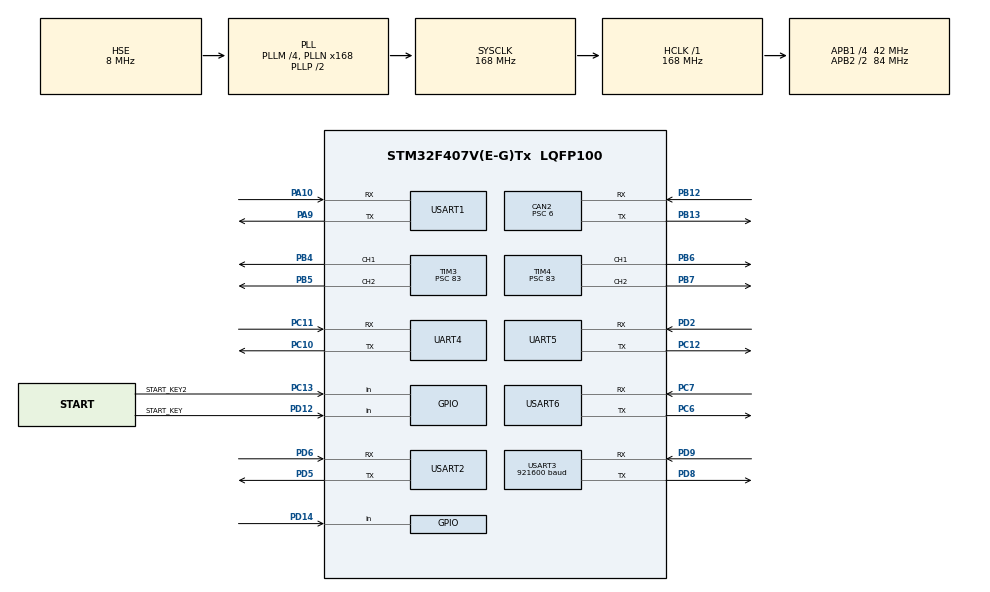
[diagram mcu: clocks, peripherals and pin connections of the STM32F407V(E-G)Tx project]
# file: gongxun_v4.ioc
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CAN2.BS1=CAN_BS1_3TQ
CAN2.BS2=CAN_BS2_3TQ
CAN2.CalculateBaudRate=1000000
CAN2.CalculateTimeBit=1000
CAN2.CalculateTimeQuantum=142.85714285714286
CAN2.Prescaler=6
Dma.Request0=UART5_RX
Dma.Request1=UART5_TX
Dma.Request2=USART3_RX
Dma.Request3=USART6_RX
Dma.UART5_RX.0.Direction=DMA_PERIPH_TO_MEMORY
Dma.UART5_RX.0.FIFOMode=DMA_FIFOMODE_DISABLE
Dma.UART5_RX.0.Instance=DMA1_Stream0
Dma.UART5_RX.0.MemDataAlignment=DMA_MDATAALIGN_BYTE
Dma.UART5_RX.0.MemInc=DMA_MINC_ENABLE
Dma.UART5_RX.0.Mode=DMA_CIRCULAR
Dma.UART5_RX.0.PeriphDataAlignment=DMA_PDATAALIGN_BYTE
Dma.UART5_RX.0.PeriphInc=DMA_PINC_DISABLE
Dma.UART5_RX.0.Priority=DMA_PRIORITY_LOW
Dma.UART5_TX.1.Direction=DMA_MEMORY_TO_PERIPH
Dma.UART5_TX.1.FIFOMode=DMA_FIFOMODE_DISABLE
Dma.UART5_TX.1.Instance=DMA1_Stream7
Dma.UART5_TX.1.MemDataAlignment=DMA_MDATAALIGN_BYTE
Dma.UART5_TX.1.MemInc=DMA_MINC_ENABLE
Dma.UART5_TX.1.Mode=DMA_NORMAL
Dma.UART5_TX.1.PeriphDataAlignment=DMA_PDATAALIGN_BYTE
Dma.UART5_TX.1.PeriphInc=DMA_PINC_DISABLE
Dma.UART5_TX.1.Priority=DMA_PRIORITY_LOW
Dma.USART3_RX.2.Direction=DMA_PERIPH_TO_MEMORY
Dma.USART3_RX.2.FIFOMode=DMA_FIFOMODE_DISABLE
Dma.USART3_RX.2.Instance=DMA1_Stream1
Dma.USART3_RX.2.MemDataAlignment=DMA_MDATAALIGN_BYTE
Dma.USART3_RX.2.MemInc=DMA_MINC_ENABLE
Dma.USART3_RX.2.Mode=DMA_NORMAL
Dma.USART3_RX.2.PeriphDataAlignment=DMA_PDATAALIGN_BYTE
Dma.USART3_RX.2.PeriphInc=DMA_PINC_DISABLE
Dma.USART3_RX.2.Priority=DMA_PRIORITY_LOW
Dma.USART6_RX.3.Direction=DMA_PERIPH_TO_MEMORY
Dma.USART6_RX.3.FIFOMode=DMA_FIFOMODE_DISABLE
Dma.USART6_RX.3.Instance=DMA2_Stream1
Dma.USART6_RX.3.MemDataAlignment=DMA_MDATAALIGN_BYTE
Dma.USART6_RX.3.MemInc=DMA_MINC_ENABLE
Dma.USART6_RX.3.Mode=DMA_NORMAL
Dma.USART6_RX.3.PeriphDataAlignment=DMA_PDATAALIGN_BYTE
Dma.USART6_RX.3.PeriphInc=DMA_PINC_DISABLE
Dma.USART6_RX.3.Priority=DMA_PRIORITY_LOW
FREERTOS.INCLUDE_vTaskDelayUntil=1
FREERTOS.Tasks01=defaultTask,0,1024,StartDefaultTask,As weak,NULL,Dynamic,NULL,NULL;myTask02,2,512,StartTask02,As weak,NULL,Dynamic,NULL,NULL
FREERTOS.configTOTAL_HEAP_SIZE=24576
Mcu.Family=STM32F4
Mcu.Name=STM32F407V(E-G)Tx
Mcu.Package=LQFP100
NVIC.CAN2_RX0_IRQn=true\:5\:0\:false\:false\:true\:true\:true\:true\:true
NVIC.DMA1_Stream0_IRQn=true\:5\:0\:false\:false\:true\:true\:false\:true\:true
NVIC.DMA1_Stream1_IRQn=true\:5\:0\:false\:false\:true\:true\:false\:true\:true
NVIC.DMA1_Stream7_IRQn=true\:5\:0\:false\:false\:true\:true\:false\:true\:true
NVIC.DMA2_Stream1_IRQn=true\:6\:0\:true\:false\:true\:true\:false\:true\:true
NVIC.PriorityGroup=NVIC_PRIORITYGROUP_4
NVIC.TIM6_DAC_IRQn=true\:15\:0\:false\:false\:true\:false\:false\:true\:true
NVIC.TimeBase=TIM6_DAC_IRQn
NVIC.TimeBaseIP=TIM6
NVIC.UART4_IRQn=true\:7\:0\:true\:false\:true\:true\:true\:true\:true
NVIC.UART5_IRQn=true\:7\:0\:true\:false\:true\:true\:true\:true\:true
NVIC.USART1_IRQn=true\:7\:0\:true\:false\:true\:true\:true\:true\:true
NVIC.USART2_IRQn=true\:7\:0\:true\:false\:true\:true\:true\:true\:true
NVIC.USART3_IRQn=true\:5\:0\:true\:false\:true\:true\:true\:true\:true
NVIC.USART6_IRQn=true\:6\:0\:true\:false\:true\:true\:true\:true\:true
PA10.Mode=Asynchronous
PA10.Signal=USART1_RX
PA13.Mode=Serial_Wire
PA13.Signal=SYS_JTMS-SWDIO
PA14.Mode=Serial_Wire
PA14.Signal=SYS_JTCK-SWCLK
PA9.Mode=Asynchronous
PA9.Signal=USART1_TX
PB12.Mode=CAN_Activate
PB12.Signal=CAN2_RX
PB13.Mode=CAN_Activate
PB13.Signal=CAN2_TX
PB4.GPIO_Speed=GPIO_SPEED_FREQ_VERY_HIGH
PB4.Signal=S_TIM3_CH1
PB5.GPIO_Speed=GPIO_SPEED_FREQ_VERY_HIGH
PB5.Signal=S_TIM3_CH2
PB6.Signal=S_TIM4_CH1
PB7.Signal=S_TIM4_CH2
PC10.Mode=Asynchronous
PC10.Signal=UART4_TX
PC11.Mode=Asynchronous
PC11.Signal=UART4_RX
PC12.Mode=Asynchronous
PC12.Signal=UART5_TX
PC13-ANTI_TAMP.GPIO_Label=START_KEY2
PC13-ANTI_TAMP.GPIO_PuPd=GPIO_PULLUP
PC13-ANTI_TAMP.Signal=GPIO_Input
PC6.Mode=Asynchronous
PC6.Signal=USART6_TX
PC7.Mode=Asynchronous
PC7.Signal=USART6_RX
PD12.GPIO_Label=START_KEY
PD12.GPIO_PuPd=GPIO_PULLUP
PD12.Signal=GPIO_Input
PD14.GPIO_PuPd=GPIO_PULLUP
PD14.Signal=GPIO_Input
PD2.Mode=Asynchronous
PD2.Signal=UART5_RX
PD5.Mode=Asynchronous
PD5.Signal=USART2_TX
PD6.Mode=Asynchronous
PD6.Signal=USART2_RX
PD8.Mode=Asynchronous
PD8.Signal=USART3_TX
PD9.Mode=Asynchronous
PD9.Signal=USART3_RX
PH0-OSC_IN.Mode=HSE-External-Oscillator
PH0-OSC_IN.Signal=RCC_OSC_IN
PH1-OSC_OUT.Mode=HSE-External-Oscillator
PH1-OSC_OUT.Signal=RCC_OSC_OUT
ProjectManager.HeapSize=0x200
ProjectManager.StackSize=0x400
ProjectManager.TargetToolchain=MDK-ARM V5.32
RCC.48MHZClocksFreq_Value=84000000
RCC.AHBFreq_Value=168000000
RCC.APB1CLKDivider=RCC_HCLK_DIV4
RCC.APB1Freq_Value=42000000
RCC.APB1TimFreq_Value=84000000
RCC.APB2CLKDivider=RCC_HCLK_DIV2
RCC.APB2Freq_Value=84000000
RCC.APB2TimFreq_Value=168000000
RCC.CortexFreq_Value=168000000
RCC.HCLKFreq_Value=168000000
RCC.HSE_VALUE=8000000
RCC.HSI_VALUE=16000000
RCC.LSE_VALUE=32768
RCC.PLLM=4
RCC.PLLN=168
RCC.PLLSourceVirtual=RCC_PLLSOURCE_HSE
RCC.SYSCLKFreq_VALUE=168000000
RCC.SYSCLKSource=RCC_SYSCLKSOURCE_PLLCLK
RCC.VCOOutputFreq_Value=336000000
SH.S_TIM3_CH1.0=TIM3_CH1,PWM Generation1 CH1
SH.S_TIM3_CH2.0=TIM3_CH2,PWM Generation2 CH2
SH.S_TIM4_CH1.0=TIM4_CH1,PWM Generation1 CH1
SH.S_TIM4_CH2.0=TIM4_CH2,PWM Generation2 CH2
TIM3.Channel-PWM\ Generation1\ CH1=TIM_CHANNEL_1
TIM3.Channel-PWM\ Generation2\ CH2=TIM_CHANNEL_2
TIM3.Period=19999
TIM3.Prescaler=83
TIM4.Channel-PWM\ Generation1\ CH1=TIM_CHANNEL_1
TIM4.Channel-PWM\ Generation2\ CH2=TIM_CHANNEL_2
TIM4.Period=19999
TIM4.Prescaler=83
UART4.VirtualMode=Asynchronous
UART5.VirtualMode=Asynchronous
USART1.VirtualMode=VM_ASYNC
USART2.VirtualMode=VM_ASYNC
USART3.BaudRate=921600
USART3.VirtualMode=VM_ASYNC
USART6.VirtualMode=VM_ASYNC
VP_FREERTOS_VS_CMSIS_V1.Mode=CMSIS_V1
VP_SYS_VS_tim6.Mode=TIM6
board=custom

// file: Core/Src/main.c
/* USER CODE BEGIN Header */
/**
  ******************************************************************************
  * @file           : main.c
  * @brief          : Main program body
  ******************************************************************************
  * @attention
  *
  * Copyright (c) 2026 STMicroelectronics.
  * All rights reserved.
  *
  * This software is licensed under terms that can be found in the LICENSE file
  * in the root directory of this software component.
  * If no LICENSE file comes with this software, it is provided AS-IS.
  *
  ******************************************************************************
  */
/* USER CODE END Header */
#include "main.h"
#include "cmsis_os.h"
#include "can.h"
#include "dma.h"
#include "tim.h"
#include "usart.h"
#include "gpio.h"

/* USER CODE BEGIN Includes */
#include "app_config.h"
#include "bsp_usart.h"
#include "hwt101.h"
#include "Emm_V5.h"
#include "FSUS.h"
#include "bsp_can2.h"
#include "actionInit.h"
#include "maixcam.h"
#include "QR_code.h"
#include "chassic.h"
/* USER CODE END Includes */

void SystemClock_Config(void);
void MX_FREERTOS_Init(void);

int main(void)
{

  /* MCU Configuration--------------------------------------------------------*/

  /* Reset of all peripherals, Initializes the Flash interface and the Systick. */
  HAL_Init();

  /* Configure the system clock */
  SystemClock_Config();

  /* Initialize all configured peripherals */
  MX_GPIO_Init();
  MX_DMA_Init();
  MX_TIM4_Init();
  MX_TIM3_Init();
  MX_UART4_Init();
  MX_UART5_Init();
  MX_USART1_UART_Init();
  MX_USART2_UART_Init();
  MX_USART3_UART_Init();
  MX_USART6_UART_Init();
  MX_CAN2_Init();
  /* USER CODE BEGIN 2 */
  /* HWT101持续输出航向；上电时将当前物理朝向定义为世界坐标0度。 */

	//基本配置初始化
	uart_init_User();
  canfilterconfig();  /* Configure filter and start CAN2. */
  DM_Enable();        /* Enable the DM motor, matching the reference. */
	User_Uart_Init(&huart4);           //FUSH舵机
  HWT101_ResReceiveToIdle_DMA();     //IMU串口
	//基本的运动初始化
  Hwt101_Yaw_Res();
  Emm_V5_Stop_Now(0,false);
	action_Init();
    ser_set2(0,3.0f);
  /* USER CODE END 2 */

  /* Call init function for freertos objects (in cmsis_os2.c) */
  MX_FREERTOS_Init();

  /* Start scheduler */
  osKernelStart();

  /* We should never get here as control is now taken by the scheduler */

  /* Infinite loop */
  while (1)
  {

  }
}

void SystemClock_Config(void)
{
  RCC_OscInitTypeDef RCC_OscInitStruct = {0};
  RCC_ClkInitTypeDef RCC_ClkInitStruct = {0};

  /** Configure the main internal regulator output voltage
  */
  __HAL_RCC_PWR_CLK_ENABLE();
  __HAL_PWR_VOLTAGESCALING_CONFIG(PWR_REGULATOR_VOLTAGE_SCALE1);

  /** Initializes the RCC Oscillators according to the specified parameters
  * in the RCC_OscInitTypeDef structure.
  */
  RCC_OscInitStruct.OscillatorType = RCC_OSCILLATORTYPE_HSE;
  RCC_OscInitStruct.HSEState = RCC_HSE_ON;
  RCC_OscInitStruct.PLL.PLLState = RCC_PLL_ON;
  RCC_OscInitStruct.PLL.PLLSource = RCC_PLLSOURCE_HSE;
  RCC_OscInitStruct.PLL.PLLM = 4;
  RCC_OscInitStruct.PLL.PLLN = 168;
  RCC_OscInitStruct.PLL.PLLP = RCC_PLLP_DIV2;
  RCC_OscInitStruct.PLL.PLLQ = 4;
  if (HAL_RCC_OscConfig(&RCC_OscInitStruct) != HAL_OK)
  {
    Error_Handler();
  }

  /** Initializes the CPU, AHB and APB buses clocks
  */
  RCC_ClkInitStruct.ClockType = RCC_CLOCKTYPE_HCLK|RCC_CLOCKTYPE_SYSCLK
                              |RCC_CLOCKTYPE_PCLK1|RCC_CLOCKTYPE_PCLK2;
  RCC_ClkInitStruct.SYSCLKSource = RCC_SYSCLKSOURCE_PLLCLK;
  RCC_ClkInitStruct.AHBCLKDivider = RCC_SYSCLK_DIV1;
  RCC_ClkInitStruct.APB1CLKDivider = RCC_HCLK_DIV4;
  RCC_ClkInitStruct.APB2CLKDivider = RCC_HCLK_DIV2;

  if (HAL_RCC_ClockConfig(&RCC_ClkInitStruct, FLASH_LATENCY_5) != HAL_OK)
  {
    Error_Handler();
  }
}

void HAL_TIM_PeriodElapsedCallback(TIM_HandleTypeDef *htim)
{
  if (htim->Instance == TIM6)
  {
    HAL_IncTick();
  }
}

void Error_Handler(void)
{
  __disable_irq();
  while (1)
  {
  }
}

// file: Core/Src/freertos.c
/* USER CODE BEGIN Header */
/**
  ******************************************************************************
  * File Name          : freertos.c
  * Description        : Code for freertos applications
  ******************************************************************************
  * @attention
  *
  * Copyright (c) 2026 STMicroelectronics.
  * All rights reserved.
  *
  * This software is licensed under terms that can be found in the LICENSE file
  * in the root directory of this software component.
  * If no LICENSE file comes with this software, it is provided AS-IS.
  *
  ******************************************************************************
  */
/* USER CODE END Header */

#include "FreeRTOS.h"
#include "task.h"
#include "main.h"
#include "cmsis_os.h"

/* USER CODE BEGIN Includes */
#include "app_config.h"
#include "chassis_runtime.h"
#include "path_follower.h"
#include "radar_startup.h"
#include "robot_task.h"
#include "action.h"
#include "QR_code.h"
#include <math.h>
#include "tim.h"
#include "actionInit.h"
/* USER CODE END Includes */

/* USER CODE BEGIN PD */
/* 雷达只在主流程启动阶段扫描一次，区域由两个启动键同步选择。 */
#define RADAR_STARTUP_NODE_ID       1U
#define RADAR_STARTUP_TIMEOUT_MS    20000U
#define RADAR_STARTUP_POLL_MS       5U
#define START_KEY_DEBOUNCE_MS       20U
#define START_FEEDBACK_TIMEOUT_MS  5000U
#define START_POSE_TIMEOUT_MS      1000U
/* USER CODE END PD */

/* USER CODE BEGIN Variables */
AppStart_State_t g_app_start;

/* USER CODE END Variables */
osThreadId defaultTaskHandle;
osThreadId myTask02Handle;

/* USER CODE BEGIN FunctionPrototypes */
static uint8_t MainTask_RunStageAction(uint8_t completed_stage);
static uint8_t MainTask_PrepareStart(void);

/* USER CODE END FunctionPrototypes */

void StartDefaultTask(void const * argument);
void StartTask02(void const * argument);

void MX_FREERTOS_Init(void); /* (MISRA C 2004 rule 8.1) */

/* GetIdleTaskMemory prototype (linked to static allocation support) */
void vApplicationGetIdleTaskMemory( StaticTask_t **ppxIdleTaskTCBBuffer, StackType_t **ppxIdleTaskStackBuffer, uint32_t *pulIdleTaskStackSize );

/* USER CODE BEGIN GET_IDLE_TASK_MEMORY */
static StaticTask_t xIdleTaskTCBBuffer;
static StackType_t xIdleStack[configMINIMAL_STACK_SIZE];

void vApplicationGetIdleTaskMemory( StaticTask_t **ppxIdleTaskTCBBuffer, StackType_t **ppxIdleTaskStackBuffer, uint32_t *pulIdleTaskStackSize )
{
  *ppxIdleTaskTCBBuffer = &xIdleTaskTCBBuffer;
  *ppxIdleTaskStackBuffer = &xIdleStack[0];
  *pulIdleTaskStackSize = configMINIMAL_STACK_SIZE;
  /* place for user code */
}
/* USER CODE END GET_IDLE_TASK_MEMORY */

void MX_FREERTOS_Init(void) {
  /* USER CODE BEGIN Init */
  (void)ChassisRuntime_Create();
  /* USER CODE END Init */

  /* Create the thread(s) */
  /* definition and creation of defaultTask */
  osThreadDef(defaultTask, StartDefaultTask, osPriorityNormal, 0, 1024);
  defaultTaskHandle = osThreadCreate(osThread(defaultTask), NULL);

  /* definition and creation of myTask02 */
  osThreadDef(myTask02, StartTask02, osPriorityHigh, 0, 512);
  myTask02Handle = osThreadCreate(osThread(myTask02), NULL);

}

__weak void StartDefaultTask(void const * argument)
{
  /* USER CODE BEGIN StartDefaultTask */
  (void)argument;

//雷达的启动扫描和规划***********************************************************************
  /* 先选择实际放车区域并建立地图位姿，不能先用1区路线规划再选2区。 */
  if (MainTask_PrepareStart() != 0U)
  {
    g_app_start.status = APP_START_PLANNING;
  /*
   * 启动阶段只扫描一次全场障碍并完成A*规划。
   * 结果保存在g_radar_startup.path，成功后再进入正式比赛主流程。
   */
#if APP_RADAR_ENABLED
  /* 接回雷达时使用：握手、选区、扫描障碍、A*规划。 */
  (void)RadarStartup_Start(RADAR_STARTUP_NODE_ID,
                          g_app_start.selected_zone,
                          RADAR_STARTUP_TIMEOUT_MS);
  while (!RadarStartup_IsFinished())
  {
    RadarStartup_Process();
    osDelay(RADAR_STARTUP_POLL_MS);
  }
#else
  /* 当前未接雷达：直接按无新增障碍做A*，不等待20秒通信超时。
   * 不调用RadarClient_Init/Poll，不发送雷达握手或扫描指令。
   */
  (void)RadarStartup_PlanWithoutRadar();
#endif

  if (RadarStartup_IsSuccessful() && PathFollower_Start(RadarStartup_GetPath()))
  {
    /* 两种模式都使用同一个路径执行器，工位动作和离站流程不变。 */
    g_app_start.status = APP_START_RUNNING;
  }
  else
  {
    g_app_start.fault = RadarStartup_IsSuccessful() ?
                        APP_START_FAULT_FOLLOWER : APP_START_FAULT_PLAN;
    g_app_start.status = APP_START_ERROR;
    (void)ChassisRuntime_Stop();
  }
  }

//雷达的启动扫描和规划************************************************************************
//测试代码************************************************************************************

//	 QRcode_print_1();
//	/* 先启动MaixCam物料模式，并等待第一批有效坐标帧。 */
//	osDelay(100U);
//		Maixcam_setmode(5U);
//		(void)VisualPosition_Run(155U, 138, 90.0f, 1U, 8000U); //加工区，地图航向
//  	(void)VisualPosition_Run(78U, 93, 0.0f, 1U, 8000U);   //码垛
	//	(void)VisualPosition_Run(60U, 100, -90.0f, 1U, 8000U);   //原料区，地图航向
//	    ser_set(-69, 800);
//    osDelay(810U);
//	/* 视觉微调直接控制四轮，期间关闭任务2，避免USART3指令互相覆盖。 */
//	ChassisRuntime_SetEncoderQueryEnabled(false);
//	MotorSetPulse(5000, 1, 200, 200);
//	osDelay(1000);
//		put_material2(3);
//		put_material2(3);
//	put_material2(3);
////	osDelay(20U);
//	grab_material(3);
//	grab_material(2);
//	grab_material(3);
//	put_material(1);
//	put_material(2);
//	put_material(3);
//	grab_middle(1);
//	ChassisRuntime_SetEncoderQueryEnabled(true);
//VisualPosition_RunRawMaterial(RAW_GRAB_MIDDLE_X_PX, RAW_GRAB_MIDDLE_Y_PX,
//            0, RAW_GRAB_POSITION_TOLERANCE_PX,
//            RAW_GRAB_POSITION_TIMEOUT_MS);
//VisualPosition_Run(145U, 127U, 0.0f, 1U, 8000U);  //加工区定位点
//VisualPosition_Run(72U, 83U, 0.0f, 1U, 8000U);  //码垛定位点
//ChassisRuntime_SetEncoderQueryEnabled(false);
//    PutMaterial2FromSlot(1, 1U);
//    PutMaterial2FromSlot(2, 2U);
//    PutMaterial2FromSlot(3, 3U);

//    GrabMaterialToSlot(1, 1U);
//   GrabMaterialToSlot(2, 2U);
//    GrabMaterialToSlot(3, 3U);

//   RawGrab_Run(1,2,3);
//ChassisRuntime_SetEncoderQueryEnabled(true);
//  while(1)
//	{
//		osDelay(10);
//	}
//测试代码************************************************************************************
  /* Infinite loop：联合执行A*路径，电机闭环仍由高优先级任务负责。 */
  for(;;)
  {
    if (g_app_start.status == APP_START_RUNNING)
    {
      PathFollower_Process();
      /*
       * 车辆到达一个任务段终点并完全停车后，才进入对应工位处理。
       * MainTask_RunStageAction返回1表示机构已收回、共享串口动作结束。
       * 原料/加工/暂存区由PathFollower_Continue先自动全向离站，再转向下一段。
       */
      if (g_path_follower.status == PATH_FOLLOWER_WAIT_ACTION)
      {
        if (MainTask_RunStageAction(g_path_follower.completed_stage) != 0U)
        {
          (void)PathFollower_Continue();
        }
      }
      if (g_path_follower.status == PATH_FOLLOWER_FAULT)
      {
        g_app_start.fault = APP_START_FAULT_FOLLOWER;
        g_app_start.status = APP_START_ERROR;
      }
      else if (g_path_follower.status == PATH_FOLLOWER_DONE)
      {
        g_app_start.status = APP_START_DONE;
      }
    }
    else
    {
      /* 雷达或规划失败：当前保持停车，等待后续故障处理。 */
    }
    osDelay(10);
  }
  /* USER CODE END StartDefaultTask */
}

__weak void StartTask02(void const * argument)
{
  /* USER CODE BEGIN StartTask02 */
  uint32_t last_wake = osKernelSysTick();
  (void)argument;

  /* 20 ms固定周期：四轮回读 -> 里程计/IMU融合 -> 四轮速度输出。 */
  for(;;)
  {
    ChassisRuntime_TaskStep();
    osDelayUntil(&last_wake,20U);
  }
  /* USER CODE END StartTask02 */
}

/* USER CODE BEGIN Application */

/* 两键同时按下不选择，避免放在2区却误选1区；只读取一次并锁定。 */
static uint8_t MainTask_ReadStartKey(void)
{
    GPIO_PinState key1 = HAL_GPIO_ReadPin(START_KEY_GPIO_Port, START_KEY_Pin);
    GPIO_PinState key2 = HAL_GPIO_ReadPin(START_KEY2_GPIO_Port, START_KEY2_Pin);
    if (key1 == GPIO_PIN_RESET && key2 == GPIO_PIN_SET) return PP_START_ZONE_1;
    if (key2 == GPIO_PIN_RESET && key1 == GPIO_PIN_SET) return PP_START_ZONE_2;
    return 0U;
}

/* 建立选区位姿，只修正软件坐标，不发送移动目标。
 * 高优先级任务2继续运行，每次等待都osDelay让出CPU，严禁用while空转。
 * 队列接口返回成功只是入队，必须等对应序号真正完成且位姿确认才启动。
 */
static uint8_t MainTask_PrepareStart(void)
{
    const PathPlan_StartProfile_t *profile;
    ChassisRuntime_State_t chassis;
    uint32_t wait_start;
    uint8_t zone;
    float yaw_error;

    g_app_start.status = APP_START_WAIT_KEY;
    g_app_start.fault = APP_START_FAULT_NONE;
    g_app_start.selected_zone = 0U;
    g_app_start.pose_sequence = 0U;
    for (;;) {
        zone = MainTask_ReadStartKey();
        if (zone != 0U) {
            osDelay(START_KEY_DEBOUNCE_MS);
            if (MainTask_ReadStartKey() == zone) break;
        }
        osDelay(5U);
    }
    if (path_plan_select_start_zone(zone) == 0) {
        g_app_start.fault = APP_START_FAULT_BAD_ZONE;
        goto start_failed;
    }
    g_app_start.selected_zone = zone;
    profile = path_plan_get_start_profile();
    g_app_start.status = APP_START_WAIT_FEEDBACK;
    wait_start = HAL_GetTick();
    for (;;) {
        ChassisRuntime_GetState(&chassis);
        if (chassis.status == CHASSIS_RUNTIME_FAULT) {
            g_app_start.fault = APP_START_FAULT_CHASSIS;
            goto start_failed;
        }
        /* IMU有效后把当前原始读数对齐PP_START_YAW_DEG配置的地图航向。
         * 不要求IMU开机读数为0；先按配置角保持航向离站，再允许路径转向。
         */
        if (chassis.nav_initialized != 0U && chassis.encoder_query_enabled != 0U &&
            chassis.encoder_valid_mask == CHASSIS_NAV_ENCODER_ALL_VALID &&
            chassis.imu_valid != 0U && isfinite(chassis.imu_yaw_deg) &&
            (chassis.status == CHASSIS_RUNTIME_IDLE ||
             chassis.status == CHASSIS_RUNTIME_DONE)) break;
        if (HAL_GetTick() - wait_start >= START_FEEDBACK_TIMEOUT_MS) {
            g_app_start.fault = APP_START_FAULT_FEEDBACK_TIMEOUT;
            goto start_failed;
        }
        osDelay(5U);
    }
    if (!ChassisRuntime_CorrectPoseWithSequence(profile->initial_x_mm,
                                                profile->initial_y_mm,
                                                profile->initial_yaw_deg,
                                                &g_app_start.pose_sequence)) {
        g_app_start.fault = APP_START_FAULT_POSE_QUEUE;
        goto start_failed;
    }
    g_app_start.status = APP_START_WAIT_POSE;
    wait_start = HAL_GetTick();
    for (;;) {
        ChassisRuntime_GetState(&chassis);
        if (chassis.status == CHASSIS_RUNTIME_FAULT) {
            g_app_start.fault = APP_START_FAULT_CHASSIS;
            goto start_failed;
        }
        yaw_error = chassis.nav.pose.yaw_deg - profile->initial_yaw_deg;
        if (isfinite(yaw_error)) {
            while (yaw_error > 180.0f) yaw_error -= 360.0f;
            while (yaw_error < -180.0f) yaw_error += 360.0f;
        }
        if (g_app_start.pose_sequence != 0U &&
            chassis.completed_sequence == g_app_start.pose_sequence &&
            (chassis.status == CHASSIS_RUNTIME_IDLE ||
             chassis.status == CHASSIS_RUNTIME_DONE) &&
            chassis.encoder_valid_mask == CHASSIS_NAV_ENCODER_ALL_VALID &&
            isfinite(chassis.nav.pose.x_mm) && isfinite(chassis.nav.pose.y_mm) &&
            isfinite(yaw_error) && fabsf(yaw_error) <= 1.0f &&
            hypotf(chassis.nav.pose.x_mm - profile->initial_x_mm,
                   chassis.nav.pose.y_mm - profile->initial_y_mm) <= 2.0f) return 1U;
        if (HAL_GetTick() - wait_start >= START_POSE_TIMEOUT_MS) {
            g_app_start.fault = APP_START_FAULT_POSE_TIMEOUT;
            goto start_failed;
        }
        osDelay(5U);
    }

start_failed:
    g_app_start.status = APP_START_ERROR;
    (void)ChassisRuntime_Stop();
    return 0U;
}

/*
 * 工位右侧对接姿态的临时观察时间。
 * 正式运行设为0；需要观察对接方向时可临时改为1000毫秒。
 * 动作本身的完成状态决定何时继续路径。
 */
/* 正式动作已接入，取消旧的工位对接后额外1秒观察等待。 */
#define STAGE_DOCK_TEST_HOLD_MS 0U

/*
 * 六次工位动作各自的执行顺序，下标与completed_stage相同。
 * 每行依次是a、b、c；修改某行只影响那一次到站，不影响另一圈。
 * 原料行是颜色编号1~6：第一圈来自A1/B1/C1，第二圈来自A3/B3/C3。
 * 第一圈加工/暂存用A2/B2/C2；第二圈加工仍用A4/B4/C4。
 * 第二圈暂存按第1/2/3组扫码计算同色目标，不使用第4组加工顺序。
 * 原料按抓取先后存入槽1/2/3；加工、暂存参数a/b/c分别指定这三个槽
 * 应去的圆环位置。例：原料6/2/4、圆环3/1/2，则槽1颜色6放圆环3，
 * 槽2颜色2放圆环1，槽3颜色4放圆环2；加工取回时仍回到原槽。
 * 表在实际扫码或手动任务加载后生成，不再混用A1/A2/A3，也不把颜色号当槽号。
 */
static uint8_t s_stage_action_order[PP_MAX_STAGES][3] = {
    {0U, 0U, 0U}, /* 0：扫码，无机构顺序。 */
    {0U, 0U, 0U}, /* 1：第一圈原料，扫码第1组，颜色1~6。 */
    {0U, 0U, 0U}, /* 2：第一圈加工，扫码第2组，圆环1~3。 */
    {0U, 0U, 0U}, /* 3：第一圈暂存，扫码第2组，圆环1~3。 */
    {0U, 0U, 0U}, /* 4：第二圈原料，扫码第3组，颜色1~6。 */
    {0U, 0U, 0U}, /* 5：第二圈加工，扫码第4组，圆环1~3。 */
    {0U, 0U, 0U}, /* 6：第二圈暂存，同色匹配的目标圆环，第二层叠放。 */
    {0U, 0U, 0U}  /* 7：最终停车，无机构顺序。 */
};

/**
  * @brief  执行每个任务段终点对应的扫码、视觉定位和机构动作。
  * @param  completed_stage 已完成的任务段编号，范围0~7。
  * @retval 1=本阶段动作完成，可以继续；0=动作仍在进行，保持停车等待。
  * @note
  *   1. 阻塞式函数：在对应case中直接调用，函数返回后保持return 1U。
  *   2. 非阻塞式函数：每次推进一步，未完成返回0U，完成后返回1U。
  *   3. 视觉得到绝对位姿后可调用：
  *        ChassisRuntime_CorrectPose(x_mm, y_mm, yaw_deg);
  *      该接口只校正地图位姿，不清空编码器累计值。
  *   4. 不要在这里长时间关闭中断或暂停调度；ZDT_task会继续读取里程计。
  *   5. 加工/暂存区返回1U前需将机构收回；返回后路径状态机自动恢复
  *      编码器回读，保持工位航向低速回到离站安全点，再转向下一段。
  */
static uint8_t MainTask_RunStageAction(uint8_t completed_stage)
{
  uint8_t *order;
  uint8_t max_id;
  /* 只记录两次原料到站：下标0=第一圈、1=第二圈，失败不自动重抓。
   * 1=动作函数返回成功，非传感器确认抓牢；调试排障后复位重跑。
   */
  static uint8_t raw_attempted[2];
  static uint8_t raw_done[2];

  if (completed_stage >= PP_MAX_STAGES) return 0U;
  order = s_stage_action_order[completed_stage];
  max_id = (completed_stage == 1U || completed_stage == 4U) ? 6U : 3U;

  /* 避免无效编号导致原料忙等待永不退出，或抓放函数不执行却放行路径。 */
  if (completed_stage >= 1U && completed_stage <= 6U &&
      (order[0] < 1U || order[0] > max_id ||
       order[1] < 1U || order[1] > max_id ||
       order[2] < 1U || order[2] > max_id ||
       order[0] == order[1] || order[0] == order[2] || order[1] == order[2]))
  {
    return 0U; /* 顺序配置错误：保持WAIT_ACTION，不执行机构或继续路径。 */
  }

#if STAGE_DOCK_TEST_HOLD_MS > 0U
  static uint8_t hold_stage = 0xFFU;
  static uint32_t hold_start_ms = 0U;

  /* 阶段1~6都是原料/加工/暂存工位，先非阻塞保持对接姿态供观察。 */
  if (completed_stage >= 1U && completed_stage <= 6U &&
      STAGE_DOCK_TEST_HOLD_MS != 0U)
  {
    if (hold_stage != completed_stage)
    {
      hold_stage = completed_stage;
      hold_start_ms = HAL_GetTick();
      return 0U;
    }

    if ((uint32_t)(HAL_GetTick() - hold_start_ms) <
        STAGE_DOCK_TEST_HOLD_MS)
    {
      return 0U;
    }

    hold_stage = 0xFFU;
  }
#endif

  switch (completed_stage)
  {
    case 0U:
      /* 扫码区域：车身左侧朝向二维码板，底盘已经停车。 */
      if (g_storage_stack.fault != STORAGE_STACK_FAULT_NONE) return 0U;
      raw_attempted[0] = raw_attempted[1] = 0U;
      raw_done[0] = raw_done[1] = 0U;
#if APP_MANUAL_TASK_ENABLED
      /* 手动测试：不调用扫码等待；同样解码成A1~C4，复用后续流程。
       * 不改扫码接收标志E和中断接收缓冲，避免与实际接收互相覆盖。
       */
      openmv_shun_xu1 = APP_MANUAL_TASK_GROUP1;
      openmv_shun_xu2 = APP_MANUAL_TASK_GROUP2;
      openmv_shun_xu3 = APP_MANUAL_TASK_GROUP3;
      openmv_shun_xu4 = APP_MANUAL_TASK_GROUP4;
      if (!ShunXu_Decode(openmv_shun_xu1, 6U, &A1, &B1, &C1) ||
          !ShunXu_Decode(openmv_shun_xu2, 3U, &A2, &B2, &C2) ||
          !ShunXu_Decode(openmv_shun_xu3, 6U, &A3, &B3, &C3) ||
          !ShunXu_Decode(openmv_shun_xu4, 3U, &A4, &B4, &C4)) {
        g_storage_stack.fault = STORAGE_STACK_FAULT_BAD_SCAN;
        return 0U; /* 手动编号非法时保持停车，不能盲目执行机构。 */
      }
#else
      QRcode_print_1();
#endif
      /* 第一圈：第1组颜色取料，第2组圆环加工/暂存。 */
      s_stage_action_order[1][0] = A1;
      s_stage_action_order[1][1] = B1;
      s_stage_action_order[1][2] = C1;
      s_stage_action_order[2][0] = A2;
      s_stage_action_order[2][1] = B2;
      s_stage_action_order[2][2] = C2;
      s_stage_action_order[3][0] = A2;
      s_stage_action_order[3][1] = B2;
      s_stage_action_order[3][2] = C2;

      /* 第二圈：第3组颜色取料，第4组只用于加工区。 */
      s_stage_action_order[4][0] = A3;
      s_stage_action_order[4][1] = B3;
      s_stage_action_order[4][2] = C3;
      s_stage_action_order[5][0] = A4;
      s_stage_action_order[5][1] = B4;
      s_stage_action_order[5][2] = C4;
      /* 根据扫码快照保存第一层圆环颜色，并生成第二圈同色码垛目标。
       * 两圈颜色不同/编号非法时保持停车，Watch查看g_storage_stack.fault。
       */
      if (!StorageStack_Configure(s_stage_action_order[1],
                                   s_stage_action_order[3],
                                   s_stage_action_order[4])) return 0U;
      s_stage_action_order[6][0] = g_storage_stack.target_ring[0];
      s_stage_action_order[6][1] = g_storage_stack.target_ring[1];
      s_stage_action_order[6][2] = g_storage_stack.target_ring[2];
      return 1U;
    case 1U:
      /* 第一圈原料：第1组颜色，action.c完成排列识别、定位、左中右抓取、
       * 查询开关恢复和收臂。返回0保持WAIT_ACTION，不放行路径或重复抓取。
       */
      if (raw_attempted[0] != 0U) return raw_done[0];
      raw_attempted[0] = 1U;
      raw_done[0] = RawGrab_Run(order[0], order[1], order[2]);
      return raw_done[0];

    case 4U:
      /* 第二圈原料：第3组颜色；直接调用同一流程，完成标志仍与第一圈独立。 */
      if (raw_attempted[1] != 0U) return raw_done[1];
      raw_attempted[1] = 1U;
      raw_done[1] = RawGrab_Run(order[0], order[1], order[2]);
      return raw_done[1];

    case 2U:
      /* 第一圈加工：保持原视觉模式、定位坐标及+90度工位航向。 */
		  Maixcam_setmode(2U);
			ser_set(-70,1000);
	    osDelay(700);
		  VisualPosition_Run(145U, 127U, 90.0f, 1U, 8000U);  //加工区定位点
		ChassisRuntime_SetEncoderQueryEnabled(false);
      /* 共享串口已让出，按本阶段顺序放置并取回。 */
      Processing_First(order[0], order[1], order[2]);
		ChassisRuntime_SetEncoderQueryEnabled(true);
			ser_set(-145,1000);
	    osDelay(700);
      return 1U;

    case 5U:
      /* 第二圈加工：定位与第一圈相同，动作顺序和入口独立。 */
      Maixcam_setmode(2U);
      ser_set(-70, 1000);
      osDelay(700U);
     VisualPosition_Run(145U, 127U, 90.0f, 1U, 8000U);  //加工区定位点
      ChassisRuntime_SetEncoderQueryEnabled(false);
      Processing_Second(order[0], order[1], order[2]);
      ChassisRuntime_SetEncoderQueryEnabled(true);
      /* 必须收回机构后返回1，之后路径状态机才允许离站。 */
      ser_set(-145, 1000);
      osDelay(700U);
      return 1U;

    case 3U:
      /* 第一圈暂存：原圆环模式和定位坐标不变，按第2组放第一层。
       * 定位失败不抓放、不放行；成功后记录first_layer_done。
       */
      return StorageStack_RunFirst() ? 1U : 0U;
    case 6U:
      /* 第二圈暂存：识别ring_color[2]对应物料，只定位成功才同色叠放。
       * 定位仍为(78,93,0度,1像素,8000ms)，失败锁存故障，禁止盲码垛。
       */
      return StorageStack_RunSecond() ? 1U : 0U;
    case 7U:
      /* TODO 用户代码：已经返回启停区1。
       * 可在这里执行比赛结束提示、蜂鸣器或最终停车动作。
       */
      return 1U;

    default:
      /* 非法阶段不放行，车辆保持停车，便于调试发现问题。 */
      return 0U;
  }
}

/* USER CODE END Application */
